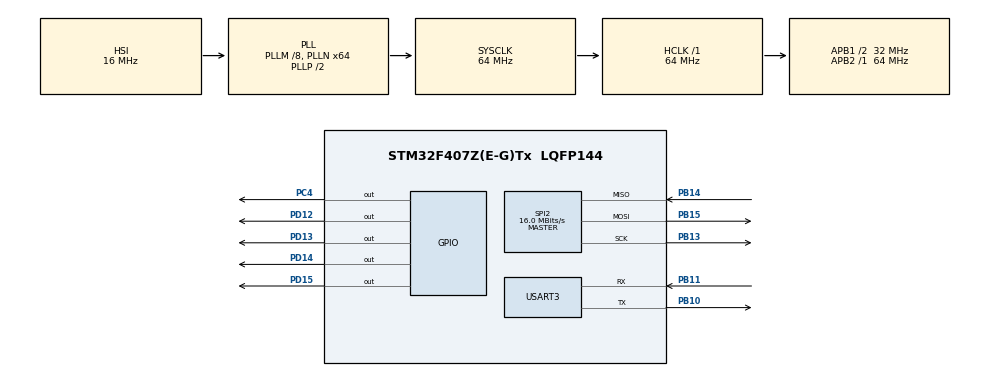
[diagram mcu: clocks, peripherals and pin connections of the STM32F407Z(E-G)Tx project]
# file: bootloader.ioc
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Mcu.Family=STM32F4
Mcu.Name=STM32F407Z(E-G)Tx
Mcu.Package=LQFP144
NVIC.PriorityGroup=NVIC_PRIORITYGROUP_4
NVIC.USART3_IRQn=true\:0\:0\:false\:false\:true\:true\:true\:true
PB10.Mode=Asynchronous
PB10.Signal=USART3_TX
PB11.Mode=Asynchronous
PB11.Signal=USART3_RX
PB13.Mode=Full_Duplex_Master
PB13.Signal=SPI2_SCK
PB14.Mode=Full_Duplex_Master
PB14.Signal=SPI2_MISO
PB15.Mode=Full_Duplex_Master
PB15.Signal=SPI2_MOSI
PC4.Signal=GPIO_Output
PD12.Signal=GPIO_Output
PD13.Signal=GPIO_Output
PD14.Signal=GPIO_Output
PD15.Signal=GPIO_Output
PH0-OSC_IN.Mode=HSE-External-Oscillator
PH0-OSC_IN.Signal=RCC_OSC_IN
PH1-OSC_OUT.Mode=HSE-External-Oscillator
PH1-OSC_OUT.Signal=RCC_OSC_OUT
ProjectManager.HeapSize=0x200
ProjectManager.StackSize=0x400
ProjectManager.TargetToolchain=STM32CubeIDE
RCC.48MHZClocksFreq_Value=32000000
RCC.AHBFreq_Value=64000000
RCC.APB1CLKDivider=RCC_HCLK_DIV2
RCC.APB1Freq_Value=32000000
RCC.APB1TimFreq_Value=64000000
RCC.APB2Freq_Value=64000000
RCC.APB2TimFreq_Value=64000000
RCC.CortexFreq_Value=64000000
RCC.HCLKFreq_Value=64000000
RCC.HSE_VALUE=25000000
RCC.HSI_VALUE=16000000
RCC.LSE_VALUE=32768
RCC.PLLM=8
RCC.PLLN=64
RCC.SYSCLKFreq_VALUE=64000000
RCC.SYSCLKSource=RCC_SYSCLKSOURCE_PLLCLK
RCC.VCOOutputFreq_Value=128000000
SPI2.CalculateBaudRate=16.0 MBits/s
SPI2.Direction=SPI_DIRECTION_2LINES
SPI2.Mode=SPI_MODE_MASTER
SPI2.VirtualType=VM_MASTER
USART3.VirtualMode=VM_ASYNC
board=custom

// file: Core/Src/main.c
/* USER CODE BEGIN Header */
/**
  ******************************************************************************
  * @file           : main.c
  * @brief          : Main program body
  ******************************************************************************
  * @attention
  *
  * Copyright (c) 2025 STMicroelectronics.
  * All rights reserved.
  *
  * This software is licensed under terms that can be found in the LICENSE file
  * in the root directory of this software component.
  * If no LICENSE file comes with this software, it is provided AS-IS.
  *
  ******************************************************************************
  */
/* USER CODE END Header */
#include "main.h"

/* USER CODE BEGIN Includes */
#include "usart_debuger.h"
#include "string.h"
#include "bootloader.h"
#include "W25Qxx.h"

/* USER CODE END Includes */

/* USER CODE BEGIN PD */
#define ALLOCATED_SIZE			512		//512 KB for each Application (2048 pages or 128 sector)
#define SECTOR_FIRMWARE1		0		//Number of Sector Allocated to the first firmware on W25Q32
#define SECTOR_FIRMWARE2		128		//Number of Sector Allocated to the Second firmware on W25Q32
#define ALLOCATED_SECTOR		128		//Numbers of sector for each firmware
#define CHUNCKSIZE 				1024	//Batch size for reading data from W25Q
#define FIRMWARE_SIZE			8428	//Size of the Firmware

#define FIRMWARE1_PAGE_W25Q		0		//First Page of W25Q Flash for First firmware
#define FIRMWARE2_PAGE_W25Q		2048	//First Page of W25Q Flash for Second firmware

/* USER CODE END PD */

SPI_HandleTypeDef hspi2;				// SPI connected to W25Q

UART_HandleTypeDef huart3;				// Debugging USART

/* USER CODE BEGIN PV */
extern char debugStr[30];
uint8_t recData[5];
uint8_t jumpTo=0;
uint32_t pageNumber = 0;
uint8_t MCUFLASHREAD[CHUNCKSIZE];
uint32_t flashSectorNumber[10] = {FLASH_SECTOR_2, FLASH_SECTOR_3, FLASH_SECTOR_4, FLASH_SECTOR_5, FLASH_SECTOR_6,
		 FLASH_SECTOR_7, FLASH_SECTOR_8, FLASH_SECTOR_9, FLASH_SECTOR_10, FLASH_SECTOR_11};
const char ascii_art[] =
				    " _________________\r\n"
				    "|# :           : #|\r\n"
				    "|  :           :  |\r\n"
				    "|  :           :  |\r\n"
				    "|  :           :  |\r\n"
				    "|  :___________:  |\r\n"
				    "|     _________   |\r\n"
				    "|    | __      |  |\r\n"
				    "|    ||  |     |  |\r\n"
				    "\\____||__|_____|__|\r\n";
/* USER CODE END PV */

void SystemClock_Config(void);
static void MX_GPIO_Init(void);
static void MX_SPI2_Init(void);
static void MX_USART3_UART_Init(void);
/* USER CODE BEGIN PFP */
void HAL_UART_RxCpltCallback(UART_HandleTypeDef *huart)
{
	if(huart->Instance == USART3){
		if(recData[0] == '1'){
			jumpTo = 1;
		}
		else if(recData[0] == '2'){
			jumpTo = 2;
		}
		HAL_UART_Receive_IT(&huart3, recData, 1);
	}
}

// Function to copy Firmware from W25Q to Flash of the MCU
void AppCopierFromW25Q(uint32_t AppAddress, uint32_t W25QPageAddress, int32_t FirmwareSize){

	int32_t bytesremains = FirmwareSize;
	uint32_t flashAddress = AppAddress;
	uint32_t pageAddress = W25QPageAddress;

	HAL_FLASH_Unlock();
	for(uint8_t j=0; j < 10; j++){

		FLASH_Erase_Sector(flashSectorNumber[j], FLASH_VOLTAGE_RANGE_3);
		while ((FLASH->SR & FLASH_SR_BSY) != 0);      // Wait for erase to complete

	}
	HAL_FLASH_Lock();
	while(bytesremains > 0){
		W25Q_FastRead(pageAddress, 0, CHUNCKSIZE, MCUFLASHREAD);
		HAL_FLASH_Unlock();
		for(uint32_t i=0; i < CHUNCKSIZE; i++){
			HAL_FLASH_Program(FLASH_TYPEPROGRAM_BYTE, flashAddress, MCUFLASHREAD[i]);
			flashAddress++;
		}
		HAL_FLASH_Lock();
		pageAddress += 4;
		bytesremains -= CHUNCKSIZE;
	}
	HAL_UART_Transmit(&huart3, (uint8_t *)"Reading Done\n", 14, 100);
}

/* USER CODE END PFP */

int main(void)
{

  /* MCU Configuration--------------------------------------------------------*/

  /* Reset of all peripherals, Initializes the Flash interface and the Systick. */
  HAL_Init();

  /* Configure the system clock */
  SystemClock_Config();

  /* Initialize all configured peripherals */
  MX_GPIO_Init();
  MX_SPI2_Init();
  MX_USART3_UART_Init();
  /* USER CODE BEGIN 2 */

  //Receive the command from USART
  HAL_UART_Transmit(&huart3, (uint8_t*)ascii_art, strlen(ascii_art), HAL_MAX_DELAY);
  HAL_UART_Transmit(&huart3, (uint8_t *) "Please Enter With Firmware 1/2?", 32, 100);
  __HAL_UART_ENABLE_IT(&huart3, UART_IT_RXNE);
  HAL_UART_Receive_IT(&huart3, recData, 1);

  /* USER CODE END 2 */

  /* Infinite loop */
  while (1)
  {

    /* USER CODE BEGIN 3 */
	  switch(jumpTo){
	  case 1:
		  strcpy(debugStr, "\r\nJump to Firmware1\r\n");
		  debugTransmit();
		  HAL_GPIO_WritePin(GPIOD, GPIO_PIN_12, GPIO_PIN_RESET);
		  HAL_Delay(1000);
		  jumpTo = 0;
		  pageNumber = SECTOR_FIRMWARE1 * 16;
		  AppCopierFromW25Q(FIRMWARE1_BASE_ADDR, pageNumber, FIRMWARE_SIZE);
		  jumpToApp(FIRMWARE1_BASE_ADDR);									//Function to Jump to the reset handler of the firmware
		  break;
	  case 2:
		  strcpy(debugStr, "\r\nJump to Firmware2\r\n");
		  debugTransmit();
		  HAL_GPIO_WritePin(GPIOD, GPIO_PIN_12, GPIO_PIN_RESET);
		  HAL_Delay(1000);
		  jumpTo = 0;
		  pageNumber = SECTOR_FIRMWARE2 * 16;
		  AppCopierFromW25Q(FIRMWARE2_BASE_ADDR, pageNumber, FIRMWARE_SIZE);
		  jumpToApp(FIRMWARE2_BASE_ADDR);									//Function to Jump to the reset handler of the firmware
		  break;
	  default:
		  HAL_GPIO_WritePin(GPIOD, GPIO_PIN_12, GPIO_PIN_SET);
		  HAL_Delay(1000);
	  }

  }
  /* USER CODE END 3 */
}

void SystemClock_Config(void)
{
  RCC_OscInitTypeDef RCC_OscInitStruct = {0};
  RCC_ClkInitTypeDef RCC_ClkInitStruct = {0};

  /** Configure the main internal regulator output voltage
  */
  __HAL_RCC_PWR_CLK_ENABLE();
  __HAL_PWR_VOLTAGESCALING_CONFIG(PWR_REGULATOR_VOLTAGE_SCALE1);

  /** Initializes the RCC Oscillators according to the specified parameters
  * in the RCC_OscInitTypeDef structure.
  */
  RCC_OscInitStruct.OscillatorType = RCC_OSCILLATORTYPE_HSI;
  RCC_OscInitStruct.HSIState = RCC_HSI_ON;
  RCC_OscInitStruct.HSICalibrationValue = RCC_HSICALIBRATION_DEFAULT;
  RCC_OscInitStruct.PLL.PLLState = RCC_PLL_ON;
  RCC_OscInitStruct.PLL.PLLSource = RCC_PLLSOURCE_HSI;
  RCC_OscInitStruct.PLL.PLLM = 8;
  RCC_OscInitStruct.PLL.PLLN = 64;
  RCC_OscInitStruct.PLL.PLLP = RCC_PLLP_DIV2;
  RCC_OscInitStruct.PLL.PLLQ = 4;
  if (HAL_RCC_OscConfig(&RCC_OscInitStruct) != HAL_OK)
  {
    Error_Handler();
  }

  /** Initializes the CPU, AHB and APB buses clocks
  */
  RCC_ClkInitStruct.ClockType = RCC_CLOCKTYPE_HCLK|RCC_CLOCKTYPE_SYSCLK
                              |RCC_CLOCKTYPE_PCLK1|RCC_CLOCKTYPE_PCLK2;
  RCC_ClkInitStruct.SYSCLKSource = RCC_SYSCLKSOURCE_PLLCLK;
  RCC_ClkInitStruct.AHBCLKDivider = RCC_SYSCLK_DIV1;
  RCC_ClkInitStruct.APB1CLKDivider = RCC_HCLK_DIV2;
  RCC_ClkInitStruct.APB2CLKDivider = RCC_HCLK_DIV1;

  if (HAL_RCC_ClockConfig(&RCC_ClkInitStruct, FLASH_LATENCY_2) != HAL_OK)
  {
    Error_Handler();
  }
}

static void MX_SPI2_Init(void)
{

  /* SPI2 parameter configuration*/
  hspi2.Instance = SPI2;
  hspi2.Init.Mode = SPI_MODE_MASTER;
  hspi2.Init.Direction = SPI_DIRECTION_2LINES;
  hspi2.Init.DataSize = SPI_DATASIZE_8BIT;
  hspi2.Init.CLKPolarity = SPI_POLARITY_LOW;
  hspi2.Init.CLKPhase = SPI_PHASE_1EDGE;
  hspi2.Init.NSS = SPI_NSS_SOFT;
  hspi2.Init.BaudRatePrescaler = SPI_BAUDRATEPRESCALER_2;
  hspi2.Init.FirstBit = SPI_FIRSTBIT_MSB;
  hspi2.Init.TIMode = SPI_TIMODE_DISABLE;
  hspi2.Init.CRCCalculation = SPI_CRCCALCULATION_DISABLE;
  hspi2.Init.CRCPolynomial = 10;
  if (HAL_SPI_Init(&hspi2) != HAL_OK)
  {
    Error_Handler();
  }

}

static void MX_USART3_UART_Init(void)
{

  huart3.Instance = USART3;
  huart3.Init.BaudRate = 115200;
  huart3.Init.WordLength = UART_WORDLENGTH_8B;
  huart3.Init.StopBits = UART_STOPBITS_1;
  huart3.Init.Parity = UART_PARITY_NONE;
  huart3.Init.Mode = UART_MODE_TX_RX;
  huart3.Init.HwFlowCtl = UART_HWCONTROL_NONE;
  huart3.Init.OverSampling = UART_OVERSAMPLING_16;
  if (HAL_UART_Init(&huart3) != HAL_OK)
  {
    Error_Handler();
  }

}

static void MX_GPIO_Init(void)
{
  GPIO_InitTypeDef GPIO_InitStruct = {0};

  /* GPIO Ports Clock Enable */
  __HAL_RCC_GPIOH_CLK_ENABLE();
  __HAL_RCC_GPIOC_CLK_ENABLE();
  __HAL_RCC_GPIOB_CLK_ENABLE();
  __HAL_RCC_GPIOD_CLK_ENABLE();

  /*Configure GPIO pin Output Level */
  HAL_GPIO_WritePin(GPIOC, GPIO_PIN_4, GPIO_PIN_RESET);

  /*Configure GPIO pin Output Level */
  HAL_GPIO_WritePin(GPIOD, GPIO_PIN_12|GPIO_PIN_13|GPIO_PIN_14|GPIO_PIN_15, GPIO_PIN_RESET);

  /*Configure GPIO pin : PC4 */
  GPIO_InitStruct.Pin = GPIO_PIN_4;
  GPIO_InitStruct.Mode = GPIO_MODE_OUTPUT_PP;
  GPIO_InitStruct.Pull = GPIO_NOPULL;
  GPIO_InitStruct.Speed = GPIO_SPEED_FREQ_LOW;
  HAL_GPIO_Init(GPIOC, &GPIO_InitStruct);

  /*Configure GPIO pins : PD12 PD13 PD14 PD15 */
  GPIO_InitStruct.Pin = GPIO_PIN_12|GPIO_PIN_13|GPIO_PIN_14|GPIO_PIN_15;
  GPIO_InitStruct.Mode = GPIO_MODE_OUTPUT_PP;
  GPIO_InitStruct.Pull = GPIO_NOPULL;
  GPIO_InitStruct.Speed = GPIO_SPEED_FREQ_LOW;
  HAL_GPIO_Init(GPIOD, &GPIO_InitStruct);

}

void Error_Handler(void)
{
  __disable_irq();
  while (1)
  {
  }
}
